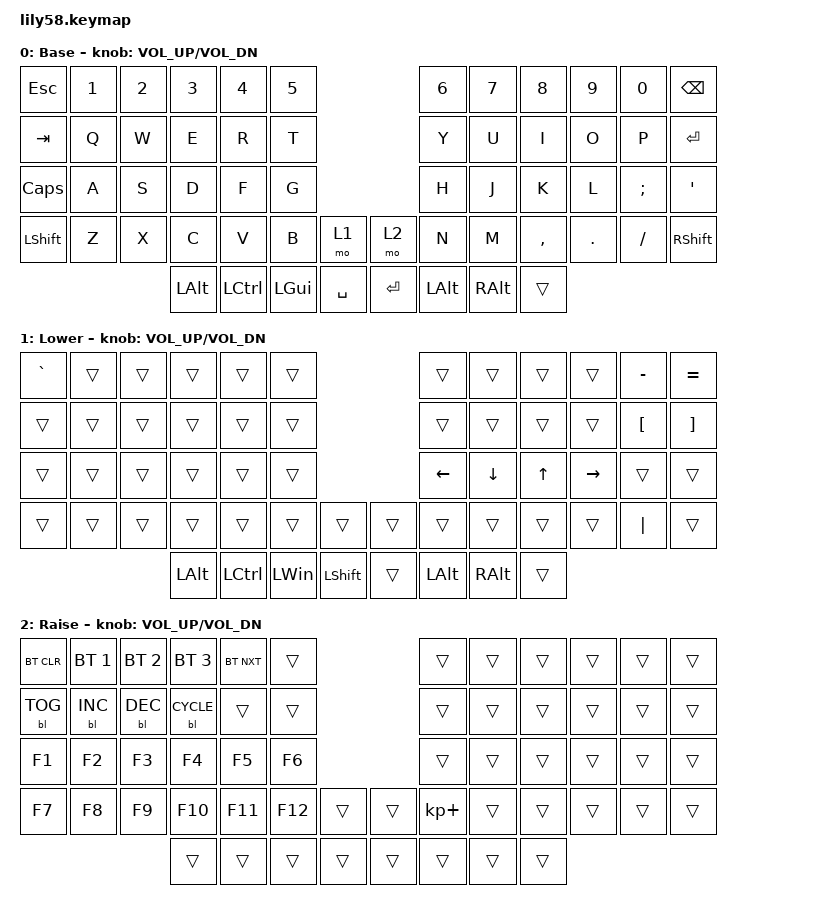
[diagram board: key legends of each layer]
/*
 * Copyright (c) 2020 The ZMK Contributors
 *
 * SPDX-License-Identifier: MIT
 */

#include <behaviors.dtsi>
#include <dt-bindings/zmk/backlight.h>
#include <dt-bindings/zmk/bt.h>
#include <dt-bindings/zmk/keys.h>

/ {
    keymap {
        compatible = "zmk,keymap";

        default_layer {
            // ------------------------------------------------------------------------------------------------------------
            // |  ESC  |  1  |  2  |  3   |  4   |  5   |                   |  6   |  7    |  8    |  9   |   0   |   `   |
            // |  TAB  |  Q  |  W  |  E   |  R   |  T   |                   |  Y   |  U    |  I    |  O   |   P   |   -   |
            // |  CTRL |  A  |  S  |  D   |  F   |  G   |                   |  H   |  J    |  K    |  L   |   ;   |   '   |
            // | SHIFT |  Z  |  X  |  C   |  V   |  B   |   "["  |  |  "]"  |  N   |  M    |  ,    |  .   |   /   | SHIFT |
            //                     | ALT  | GUI  | LOWER|  SPACE |  | ENTER | RAISE| BSPC  | GUI   |

            display-name = "Base";
            bindings = <
&kp ESC         &kp N1  &kp N2  &kp N3    &kp N4     &kp N5                              &kp N6        &kp N7         &kp N8     &kp N9   &kp N0    &kp BACKSPACE
&kp TAB         &kp Q   &kp W   &kp E     &kp R      &kp T                               &kp Y         &kp U          &kp I      &kp O    &kp P     &kp ENTER
&kp CAPSLOCK    &kp A   &kp S   &kp D     &kp F      &kp G                               &kp H         &kp J          &kp K      &kp L    &kp SEMI  &kp SQT
&kp LEFT_SHIFT  &kp Z   &kp X   &kp C     &kp V      &kp B         &mo 1        &mo 2    &kp N         &kp M          &kp COMMA  &kp DOT  &kp FSLH  &kp RSHFT
                                &kp LALT  &kp LCTRL  &kp LEFT_GUI  &kp SPACE    &kp RET  &kp LEFT_ALT  &kp RIGHT_ALT  &trans
            >;

            sensor-bindings = <&inc_dec_kp C_VOL_UP C_VOL_DN>;
        };

        lower_layer {
            // ------------------------------------------------------------------------------------------------------------
            // | BTCLR | BT1 | BT2 |  BT3 |  BT4 |  BT5 |                   |      |       |       |      |       |       |
            // |  F1   |  F2 |  F3 |  F4  |  F5  |  F6  |                   |  F7  |  F8   |  F9   |  F10 |  F11  |  F12  |
            // |   `   |  !  |  @  |  #   |  $   |  %   |                   |  ^   |  &    |  *    |  (   |   )   |   ~   |
            // |       |     |     |      |      |      |        |  |       |      |  _    |  +    |  {   |   }   |  "|"  |
            //                     |      |      |      |        |  |       |      |       |       |

            display-name = "Lower";
            bindings = <
&kp GRAVE  &trans  &trans  &trans        &trans            &trans                                  &trans        &trans         &trans  &trans     &kp MINUS         &kp EQUAL
&trans     &trans  &trans  &trans        &trans            &trans                                  &trans        &trans         &trans  &trans     &kp LEFT_BRACKET  &kp RIGHT_BRACKET
&trans     &trans  &trans  &trans        &trans            &trans                                  &kp LEFT      &kp DOWN       &kp UP  &kp RIGHT  &trans            &trans
&trans     &trans  &trans  &trans        &trans            &trans        &trans            &trans  &trans        &trans         &trans  &trans     &kp PIPE          &trans
                           &kp LEFT_ALT  &kp LEFT_CONTROL  &kp LEFT_WIN  &kp LEFT_SHIFT    &trans  &kp LEFT_ALT  &kp RIGHT_ALT  &trans
            >;

            sensor-bindings = <&inc_dec_kp C_VOL_UP C_VOL_DN>;
        };

        raise_layer {
            // ------------------------------------------------------------------------------------------------------------
            // |       |     |     |      |      |      |                   |      |       |       |      |       |       |
            // |   `   |  1  |  2  |  3   |  4   |  5   |                   |  6   |   7   |   8   |  9   |   0   |       |
            // |   F1  |  F2 |  F3 |  F4  |  F5  |  F6  |                   |      |   <-  |   v   |  ^   |  ->   |       |
            // |   F7  |  F8 |  F9 |  F10 |  F11 |  F12 |        |  |       |  +   |   -   |   =   |  [   |   ]   |   \   |
            //                     |      |      |      |        |  |       |      |       |       |

            display-name = "Raise";
            bindings = <
&bt BT_CLR  &bt BT_SEL 1  &bt BT_SEL 2  &bt BT_SEL 3  &bt BT_NXT  &trans                     &trans       &trans  &trans  &trans  &trans  &trans
&bl BL_TOG  &bl BL_INC    &bl BL_DEC    &bl BL_CYCLE  &trans      &trans                     &trans       &trans  &trans  &trans  &trans  &trans
&kp F1      &kp F2        &kp F3        &kp F4        &kp F5      &kp F6                     &trans       &trans  &trans  &trans  &trans  &trans
&kp F7      &kp F8        &kp F9        &kp F10       &kp F11     &kp F12  &trans    &trans  &kp KP_PLUS  &trans  &trans  &trans  &trans  &trans
                                        &trans        &trans      &trans   &trans    &trans  &trans       &trans  &trans
            >;

            sensor-bindings = <&inc_dec_kp C_VOL_UP C_VOL_DN>;
        };

        extra_1 { status = "reserved"; };

        extra_2 { status = "reserved"; };

        extra_3 { status = "reserved"; };
    };
};
